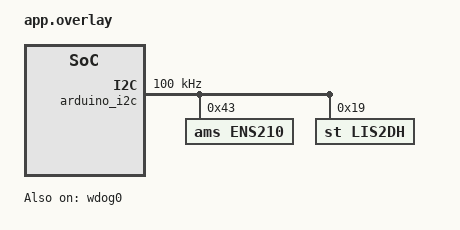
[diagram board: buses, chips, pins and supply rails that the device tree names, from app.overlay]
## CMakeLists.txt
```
# SPDX-License-Identifier: LicenseRef-Atmosic
# Copyright (c) 2025-2026 Atmosic

cmake_minimum_required(VERSION 3.20.0)

set(EXTRA_DTC_OVERLAY_FILE "app.overlay")
find_package(Zephyr REQUIRED HINTS $ENV{ZEPHYR_BASE})
project(sensor_beacon)

# Base application sources
set(app_sources
  src/main.c
  src/sensor_beacon.c
  src/sensor_data.c
  src/sensor_interface.c
  src/battery_monitor.c
  src/beacon_adv.c
  src/led_button_ctrl.c
  src/at_gatt.c
  src/at_cmd_manager.c
  src/beacon_adv_at_cmd.c
)

target_sources(app PRIVATE
  ${app_sources}
)

# Include directories
target_include_directories(app PRIVATE
  src/
)
```

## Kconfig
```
# SPDX-License-Identifier: LicenseRef-Atmosic
# Copyright (c) 2025-2026 Atmosic

source "Kconfig.zephyr"

config SENSOR_BEACON_UPDATE_INTERVAL
	int "Sensor data update interval in centiseconds"
	default 100
	help
	  Interval between sensor data updates and beacon advertisement updates.
	  Value is in centiseconds (1 centisecond = 10ms).
	  Default is 100 centiseconds = 1 second for responsive debugging.

config SENSOR_BEACON_FAST_ADV
	bool "Fast advertising mode"
	default n
	help
	  Enable fast advertising mode for quick device discovery.
	  Fast mode: 100-150ms intervals (higher power, better responsiveness)
	  Normal mode: 1-1.2s intervals (balanced power and responsiveness)

	  Fast mode is recommended for applications requiring immediate discovery,
	  while normal mode provides good balance for most use cases.

config SENSOR_BEACON_ACCEL_SCALING_FACTOR
	int "Accelerometer scaling factor"
	default 16000
	help
	  Scaling factor to convert Zephyr sensor values to match the
	  mobile app expectations. Set to 16000 to compensate for mobile
	  app scaling (÷16÷1000) with ±16g range for optimal sensitivity.

config SENSOR_BEACON_TEMP_SCALING_FACTOR
	int "Temperature scaling factor"
	default 256
	help
	  Scaling factor for temperature values using fixed-point with 256 scale factor.

config SENSOR_BEACON_HUMIDITY_SCALING_FACTOR
	int "Humidity scaling factor"
	default 256
	help
	  Scaling factor for humidity values using fixed-point with 256 scale factor.

config SENSOR_BEACON_BUTTON_POWER_CONTROL
	bool "Button-controlled power management"
	select HWINFO
	help
	  Enable button-controlled device power management functionality.
	  When enabled, this mode provides:
	  - Device starts in OFF state and requires button activation
	  - Device ON/OFF control via 2-second button press
	  - Power state LED indications (Green LED for ON, Red LED for OFF)
	  - Device state management with low power mode support

	  When disabled (default), the device operates in immediate beaconing mode:
	  - Device starts beaconing immediately after power on
	  - No device ON/OFF functionality via button
	  - Only beacon status LED indication is active

config SENSOR_BEACON_AT_CMD_SUPPORT
	bool "Enable AT command support for sensor beacon"
	depends on ATM_AT_CMD
	help
	  Enable AT command interface for sensor beacon configuration.

	  When enabled, the sensor beacon will support:
	  - Device name configuration via AT commands
	  - Advertising interval configuration
	  - Custom advertising data configuration
	  - System reset commands
	  - Device unlock/lock functionality

# Logging configuration for sensor beacon application modules
module = SENSOR_BEACON
module-str = sensor_beacon
source "subsys/logging/Kconfig.template.log_config"
```

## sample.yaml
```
# SPDX-License-Identifier: LicenseRef-Atmosic
# Copyright (c) 2025-2026 Atmosic

sample:
  description: Sensor Beacon Application - Demonstrates sensor data collection and BLE advertising
  name: Sensor Beacon Application
common:
  sysbuild: true
  harness: console
  harness_config:
    type: one_line
    regex:
      - "Sensor beacon initialized successfully"
  tags:
    - sensor_beacon
  depends_on:
    - i2c
    - lis2dh
tests:
  # Main application runtime test (includes AT command support)
  applications.sensor_beacon.atm:
    tags:
      - openair_release
    extra_configs:
      - CONFIG_LOG_DEFAULT_LEVEL=3
      - CONFIG_SENSOR_BEACON_LOG_LEVEL_INF=y
  applications.sensor_beacon.atm.mcuboot.dfu:
    tags:
      - mcuboot
      - openair_release_mcuboot
    extra_args:
      - SB_CONFIG_BOOTLOADER_MCUBOOT=y
      - SB_CONFIG_BOOT_SIGNATURE_TYPE_ECDSA_P256=y
      - SB_CONFIG_MCUBOOT_MODE_SWAP_USING_OFFSET=y
      - EXTRA_CONF_FILE="basic_dfu_serial.conf;"
      - EXTRA_DTC_OVERLAY_FILE="dfu.overlay"
    extra_configs:
      - CONFIG_LOG_DEFAULT_LEVEL=3
      - CONFIG_SENSOR_BEACON_LOG_LEVEL_INF=y
  applications.sensor_beacon.atm.mcuboot.dfu.legacy_scratch:
    tags:
      - mcuboot
      - legacy
    extra_args:
      - SB_CONFIG_BOOTLOADER_MCUBOOT=y
      - SB_CONFIG_BOOT_SIGNATURE_TYPE_ECDSA_P256=y
      - SB_CONFIG_MCUBOOT_MODE_SWAP_SCRATCH=y
      - SB_ATM_DTS_EXTRA_CPPFLAGS="-DATM_MCUBOOT_SWAP_WITH_OFFSET=0"
      - EXTRA_CONF_FILE="basic_dfu_serial.conf;"
      - EXTRA_DTC_OVERLAY_FILE="dfu.overlay"
    extra_configs:
      - CONFIG_LOG_DEFAULT_LEVEL=3
      - CONFIG_SENSOR_BEACON_LOG_LEVEL_INF=y
  applications.sensor_beacon.atm.two_dev:
    tags:
      - two_dev
    extra_configs:
      - CONFIG_LOG_DEFAULT_LEVEL=3
      - CONFIG_SENSOR_BEACON_LOG_LEVEL_INF=y
      - CONFIG_SENSOR_BEACON_FAST_ADV=y
```

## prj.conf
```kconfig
# Copyright (c) 2025-2026 Atmosic
#
# SPDX-License-Identifier: LicenseRef-Atmosic

# BT Configuration
CONFIG_BT=y
CONFIG_BT_PERIPHERAL=y
CONFIG_BT_EXT_ADV=y
CONFIG_BT_MAX_CONN=2
CONFIG_BT_DEVICE_NAME="Atmosic Sensor Beacon"
CONFIG_BT_DEVICE_NAME_DYNAMIC=y
CONFIG_BT_DEVICE_NAME_MAX=22

# Extended advertising configuration for dual advertising sets
CONFIG_BT_EXT_ADV_MAX_ADV_SET=2

# LED and Button support
CONFIG_GPIO=y
CONFIG_INPUT=y

# Battery measurement
CONFIG_ADC=y
CONFIG_ADC_LOG_LEVEL_ERR=y

# Sensor measurement - ALWAYS ENABLED (core functionality)
CONFIG_I2C=y
CONFIG_SENSOR=y
CONFIG_SENSOR_LOG_LEVEL_WRN=y

# Application configuration
CONFIG_SENSOR_BEACON_UPDATE_INTERVAL=100
CONFIG_ATM_SETTINGS=y

# Sensor scaling factors (optimized for ±16g range and mobile app compatibility)
CONFIG_SENSOR_BEACON_TEMP_SCALING_FACTOR=256
CONFIG_SENSOR_BEACON_HUMIDITY_SCALING_FACTOR=256
CONFIG_SENSOR_BEACON_ACCEL_SCALING_FACTOR=1000

# Stack sizes
CONFIG_MAIN_STACK_SIZE=2048
CONFIG_SYSTEM_WORKQUEUE_STACK_SIZE=2048

# Stack sentinel
CONFIG_STACK_SENTINEL=y

# C library
CONFIG_NEWLIB_LIBC=y
CONFIG_NEWLIB_LIBC_NANO=y

# Logging - MINIMAL (warnings and errors only)
CONFIG_LOG=y
# Warning level for production
CONFIG_LOG_DEFAULT_LEVEL=2
# Application module logging
CONFIG_SENSOR_BEACON_LOG_LEVEL_WRN=y

# AT command framework
CONFIG_ATM_AT_CMD=y
CONFIG_AT_CMD_SET=y
CONFIG_AT_CMD_LOCK_SET=y
CONFIG_AT_CMD_SYSUNLOCKKEY_VALUE="atm1atm123"
CONFIG_AT_CMD_BLEGAPDEVNAME=y
CONFIG_AT_CMD_BLEGAPDEVNAME_CB=y
CONFIG_AT_CMD_BLEADVLEGACYPARM=y
CONFIG_AT_CMD_BLEADVLEGACYPARM_CB=y
CONFIG_AT_CMD_BLEADVDATA=y
CONFIG_AT_CMD_BLEADVDATA_CB=y

# Bluetooth buffer configuration for AT commands
CONFIG_BT_BUF_ACL_RX_SIZE=255
CONFIG_BT_BUF_ACL_TX_SIZE=251
CONFIG_BT_L2CAP_TX_MTU=247
CONFIG_BT_BUF_CMD_TX_SIZE=255
CONFIG_BT_BUF_EVT_DISCARDABLE_SIZE=255

# Storage for persistent settings
CONFIG_FLASH=y
CONFIG_FLASH_PAGE_LAYOUT=y
CONFIG_FLASH_MAP=y
CONFIG_NVS=y
CONFIG_SETTINGS=y
CONFIG_BT_SETTINGS=y

# BT features for AT command support
CONFIG_BT_SMP=y
CONFIG_BT_GATT_CLIENT=y

# Disable unused BT features to save memory and power
CONFIG_BT_GATT_SERVICE_CHANGED=n
CONFIG_BT_GATT_CACHING=n
CONFIG_BT_GATT_AUTO_DISCOVER_CCC=n

# Disable debugging features for production
CONFIG_THREAD_RUNTIME_STATS=n
```

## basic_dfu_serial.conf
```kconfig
# Copyright (c) 2026 Atmosic
#
# SPDX-License-Identifier: LicenseRef-Atmosic

# Enable MCUmgr with image and OS management command groups
CONFIG_ATM_MCUMGR=y

# Enable MCUmgr UART transport
CONFIG_UART_MCUMGR=y
CONFIG_MCUMGR_TRANSPORT_UART=y
```

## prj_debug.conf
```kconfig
# Copyright (c) 2025-2026 Atmosic
#
# SPDX-License-Identifier: LicenseRef-Atmosic

# BT Configuration
CONFIG_BT=y
CONFIG_BT_PERIPHERAL=y
CONFIG_BT_EXT_ADV=y
CONFIG_BT_MAX_CONN=2
CONFIG_BT_DEVICE_NAME="Sensor Beacon Debug"
CONFIG_BT_DEVICE_NAME_DYNAMIC=y
CONFIG_BT_DEVICE_NAME_MAX=22

# Extended advertising configuration for dual advertising sets
CONFIG_BT_EXT_ADV_MAX_ADV_SET=2

# LED and Button support
CONFIG_GPIO=y
CONFIG_INPUT=y

# Battery measurement
CONFIG_ADC=y
CONFIG_ADC_LOG_LEVEL_DBG=y

# Sensor measurement - ALWAYS ENABLED (core functionality)
CONFIG_I2C=y
CONFIG_SENSOR=y
CONFIG_SENSOR_LOG_LEVEL_DBG=y

# Application configuration
CONFIG_SENSOR_BEACON_UPDATE_INTERVAL=100
CONFIG_ATM_SETTINGS=y

# Application module logging
CONFIG_SENSOR_BEACON_LOG_LEVEL_DBG=y

# Sensor scaling factors (optimized for ±16g range and mobile app compatibility)
CONFIG_SENSOR_BEACON_TEMP_SCALING_FACTOR=256
CONFIG_SENSOR_BEACON_HUMIDITY_SCALING_FACTOR=256
CONFIG_SENSOR_BEACON_ACCEL_SCALING_FACTOR=1000

# Stack sizes
CONFIG_MAIN_STACK_SIZE=2048
CONFIG_SYSTEM_WORKQUEUE_STACK_SIZE=2048

# Stack sentinel
CONFIG_STACK_SENTINEL=y

# C library
CONFIG_NEWLIB_LIBC=y
CONFIG_NEWLIB_LIBC_NANO=y

# Logging - SELECTIVE DEBUG (application debug, OS info only)
CONFIG_LOG=y
CONFIG_LOG_DEFAULT_LEVEL=3
CONFIG_LOG_BACKEND_UART=y
CONFIG_LOG_FUNC_NAME_PREFIX_DBG=y

# Increase log buffer to reduce dropped messages
CONFIG_LOG_BUFFER_SIZE=4096
CONFIG_LOG_PROCESS_THREAD_STACK_SIZE=2048
CONFIG_LOG_PROCESS_TRIGGER_THRESHOLD=10
CONFIG_LOG_BLOCK_IN_THREAD=y

# Disable specific noisy debug modules
CONFIG_KERNEL_LOG_LEVEL_WRN=y
CONFIG_LOG_OVERRIDE_LEVEL=3

# Bluetooth debug logging - selective (uncomment as needed)
#CONFIG_BT_CONN_LOG_LEVEL_DBG=y
#CONFIG_BT_HCI_CORE_LOG_LEVEL_DBG=y

# AT command framework
CONFIG_ATM_AT_CMD=y
CONFIG_AT_CMD_SET=y
CONFIG_AT_CMD_LOCK_SET=y
CONFIG_AT_CMD_SYSUNLOCKKEY_VALUE="atm1atm123"
CONFIG_AT_CMD_BLEGAPDEVNAME=y
CONFIG_AT_CMD_BLEGAPDEVNAME_CB=y
CONFIG_AT_CMD_BLEADVLEGACYPARM=y
CONFIG_AT_CMD_BLEADVLEGACYPARM_CB=y
CONFIG_AT_CMD_BLEADVDATA=y
CONFIG_AT_CMD_BLEADVDATA_CB=y

# Bluetooth buffer configuration for AT commands
CONFIG_BT_BUF_ACL_RX_SIZE=255
CONFIG_BT_BUF_ACL_TX_SIZE=251
CONFIG_BT_L2CAP_TX_MTU=247
CONFIG_BT_BUF_CMD_TX_SIZE=255
CONFIG_BT_BUF_EVT_DISCARDABLE_SIZE=255

# Storage for persistent settings
CONFIG_FLASH=y
CONFIG_FLASH_PAGE_LAYOUT=y
CONFIG_FLASH_MAP=y
CONFIG_NVS=y
CONFIG_SETTINGS=y
CONFIG_BT_SETTINGS=y

# BT features for AT command support
CONFIG_BT_SMP=y
CONFIG_BT_GATT_CLIENT=y

# Disable unused BT features to save memory and power
CONFIG_BT_GATT_SERVICE_CHANGED=n
CONFIG_BT_GATT_CACHING=n
CONFIG_BT_GATT_AUTO_DISCOVER_CCC=n
```

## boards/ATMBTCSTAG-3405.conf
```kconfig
# SPDX-License-Identifier: LicenseRef-Atmosic
# Copyright (c) 2025-2026 Atmosic

# Board-specific configuration for ATMBTCSTAG-3405 tag design
# This enables button-controlled power management functionality

# Enable button-controlled power management
# - Device starts in OFF state and requires button activation
# - Device ON/OFF control via 2-second button press
# - Power state LED indications (Green LED for ON, Red LED for OFF)
# - Device state management with low power mode support
CONFIG_SENSOR_BEACON_BUTTON_POWER_CONTROL=y
```

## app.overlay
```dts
/*
 * SPDX-License-Identifier: LicenseRef-Atmosic
 * Copyright (c) 2025-2026 Atmosic
 */

/*
 * The arduino_i2c alias automatically resolves to the correct I2C bus
 * for each board variant, eliminating the need for board-specific overlays.
 */

&arduino_i2c {
	status = "okay";
	clock-frequency = <I2C_BITRATE_STANDARD>;

	/* ENS210 temperature and humidity sensor */
	ens210: ens210@43 {
		compatible = "ams,ens210";
		reg = <0x43>;
		status = "okay";
	};

	/* LIS2DH accelerometer */
	lis2dh: lis2dh@19 {
		compatible = "st,lis2dh";
		reg = <0x19>;
		status = "okay";
	};
};

&wdog0 {
	status = "okay";
};

&soc_off {
        status = "okay";
};

&cpu0 {
	cpu-power-states = <&idle &sleep &retain &hibernate &soc_off>;
};
```

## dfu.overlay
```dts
/*
 * SPDX-License-Identifier: LicenseRef-Atmosic
 * Copyright (c) 2026 Atmosic
 */

&uart0 {
	status = "okay";
};
```

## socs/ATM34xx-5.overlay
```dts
/*
 * SPDX-License-Identifier: LicenseRef-Atmosic
 * Copyright (c) 2025-2026 Atmosic
 */

&wdog_unified {
	status = "okay";
};

/* Update alias to point to unified watchdog for PMU watchdog support */
/ {
	aliases {
		watchdog0 = &wdog_unified;
	};
};
```

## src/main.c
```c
/*
 * Copyright (c) 2025-2026 Atmosic
 *
 * SPDX-License-Identifier: LicenseRef-Atmosic
 */

#include <zephyr/kernel.h>
#include <zephyr/drivers/watchdog.h>
#include <zephyr/logging/log.h>
#include <zephyr/pm/pm.h>
#include <zephyr/pm/policy.h>
#include <zephyr/bluetooth/bluetooth.h>
#if defined(CONFIG_BT_MAX_CONN) && (CONFIG_BT_MAX_CONN > 1)
#include <zephyr/bluetooth/conn.h>
#include <zephyr/bluetooth/hci.h>
#include <zephyr/bluetooth/addr.h>
#include <zephyr/bluetooth/gatt.h>
#endif
#include "beacon_adv.h"
#include "sensor_beacon.h"
#include "at_gatt.h"
#include "at_cmd_manager.h"
#include "led_button_ctrl.h"
#include "reset.h"
#ifdef CONFIG_PM
#include "power.h"
#endif

LOG_MODULE_REGISTER(main, CONFIG_SENSOR_BEACON_LOG_LEVEL);

#define SLEEP_TIME        K_SECONDS(3)
#define WDT_MIN_WINDOW_MS 0
#define WDT_MAX_WINDOW_MS 5000

static const struct device *const wdog_dev = DEVICE_DT_GET(DT_ALIAS(watchdog0));
static int wdt_channel_id;

#ifdef CONFIG_PM
static void wdog_poke(enum pm_state state)
{
	wdt_feed(wdog_dev, wdt_channel_id);
}

static struct pm_notifier notifier = {
	.state_entry = wdog_poke,
	.state_exit = wdog_poke,
};
#endif

/**
 * @brief MTU exchange completion callback
 */
static void mtu_exchange_cb(struct bt_conn *conn, uint8_t err,
			    struct bt_gatt_exchange_params *params)
{
	if (err) {
		LOG_WRN("MTU exchange failed (err 0x%02x)", err);
	} else {
		uint16_t mtu = bt_gatt_get_mtu(conn);
		LOG_INF("MTU exchange successful: %u bytes", mtu);
	}
}

static struct bt_gatt_exchange_params mtu_exchange_params = {.func = mtu_exchange_cb};

#if defined(CONFIG_BT_MAX_CONN) && (CONFIG_BT_MAX_CONN > 1)
/**
 * @brief Bluetooth connection callback
 *
 * Automatically locks device on new connections to prevent authentication bypass vulnerability.
 */
static void connected_cb(struct bt_conn *conn, uint8_t err)
{
	if (err) {
		LOG_ERR("BLE connection failed (err 0x%02x)", err);
		return;
	}

	char addr[BT_ADDR_LE_STR_LEN];
	bt_addr_le_to_str(bt_conn_get_dst(conn), addr, sizeof(addr));
	LOG_INF("BLE connected: %s", addr);

	/* Initiate MTU exchange for AT commands */
	int ret = bt_gatt_exchange_mtu(conn, &mtu_exchange_params);
	if (ret) {
		LOG_WRN("MTU exchange request failed (err %d), using default MTU", ret);
	} else {
		LOG_INF("MTU exchange initiated (current: %u bytes)", bt_gatt_get_mtu(conn));
	}

	/* Force device to locked state on new connection */
	at_cmd_connection_event(true);
	LOG_INF("Device automatically locked for new BLE session");
}

/**
 * @brief Bluetooth disconnection callback
 */
static void disconnected_cb(struct bt_conn *conn, uint8_t reason)
{
	char addr[BT_ADDR_LE_STR_LEN];
	bt_addr_le_to_str(bt_conn_get_dst(conn), addr, sizeof(addr));
	LOG_INF("BLE disconnected: %s (reason 0x%02x %s)", addr, reason, bt_hci_err_to_str(reason));

	/* Restart connectable advertising so the device is connectable again. */
	int err = beacon_conn_adv_restart();

	if (err) {
		LOG_ERR("Failed to restart conn adv after disconnect (err %d)", err);
	}
}

/**
 * @brief Bluetooth connection callbacks
 */
BT_CONN_CB_DEFINE(sensor_beacon_conn_cb) = {
	.connected = connected_cb,
	.disconnected = disconnected_cb,
};

#endif /* CONFIG_BT_MAX_CONN > 1 */

int main(void)
{
	LOG_INF("Starting Sensor Beacon Application: %#x", boot_status());

#ifdef CONFIG_SENSOR_BEACON_BUTTON_POWER_CONTROL
	// Check if device should power on (button power control enabled)
	if (!led_button_ctrl_check_power_on()) {
		LOG_INF("Device will go into SOC-OFF state");
#ifdef CONFIG_PM
		// Enable GPIO wakeup source for SOC_OFF
		atm_socoff_wakeup_gpio_set(true);
		// Unlock SOC_OFF state to allow PM subsystem to enter it
		sensor_beacon_unlock_soft_off_state();
#endif
		return 0;
	}

	// Device is powering on - continue with initialization
	LOG_INF("Button power control check passed - proceeding with initialization");
#else
	// No button power control, proceed directly to normal initialization
	LOG_DBG("No button power control");
#endif

	/* Initialize watchdog */
	struct wdt_timeout_cfg wdt_config = {
		.flags = WDT_FLAG_RESET_SOC,
		.window.min = WDT_MIN_WINDOW_MS,
		.window.max = WDT_MAX_WINDOW_MS,
		.callback = NULL,
	};

	wdt_channel_id = wdt_install_timeout(wdog_dev, &wdt_config);
	if (wdt_channel_id < 0) {
		LOG_ERR("Watchdog install error: %d", wdt_channel_id);
		return 1;
	}

	int ret = wdt_setup(wdog_dev, 0);
	if (ret < 0) {
		LOG_ERR("Watchdog setup error: %d", ret);
		return 1;
	}

	/* Initialize Bluetooth subsystem early */
	ret = bt_enable(NULL);
	if (ret) {
		LOG_ERR("Bluetooth init failed: %d", ret);
		return ret;
	}
	LOG_INF("Bluetooth initialized");

	/* Initialize AT command manager */
	ret = at_cmd_manager_init();
	if (ret) {
		LOG_ERR("AT command manager init failed: %" PRId32, ret);
		return ret;
	}
	LOG_INF("AT command support initialized");

	/* Initialize sensor beacon */
	ret = sensor_beacon_init();
	if (ret) {
		LOG_ERR("Sensor beacon init failed: %d", ret);
		return ret;
	}

#ifdef CONFIG_PM
	sensor_beacon_unlock_soft_off_state();
#endif

	/* Set the device to ON state */
	led_button_ctrl_set_device_state(DEVICE_STATE_ON);

#ifdef CONFIG_PM
	pm_notifier_register(&notifier);
#else
	/* Main loop for non-PM builds */
	while (true) {
		k_sleep(SLEEP_TIME);
		wdt_feed(wdog_dev, wdt_channel_id);
	}
#endif

	return 0;
}
```

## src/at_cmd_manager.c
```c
/*
 * Copyright (c) 2025-2026 Atmosic
 *
 * SPDX-License-Identifier: LicenseRef-Atmosic
 */

#include <ctype.h>
#include <errno.h>
#include <string.h>
#include <zephyr/bluetooth/bluetooth.h>
#include <zephyr/bluetooth/gap.h>
#include <zephyr/bluetooth/hci_types.h>
#include <zephyr/logging/log.h>
#include <zephyr/logging/log_ctrl.h>
#include <zephyr/settings/settings.h>
#include <zephyr/sys/reboot.h>

#include "at_cmd.h"
#include "at_cmd_set.h"
#include "at_cmd_manager.h"
#include "at_cmd_set.h"
#include "at_gatt.h"
#include "beacon_adv.h"
#include "beacon_adv_at_cmd.h"

LOG_MODULE_REGISTER(at_cmd_manager, CONFIG_SENSOR_BEACON_LOG_LEVEL);

/* AT Command Buffer Configuration */
/**
 * @brief AT command buffer size
 *
 * This buffer size is designed to accommodate the longest possible AT command
 * including parameters. Based on AT command specification and typical usage:
 * - Command prefix: "AT+" (3 bytes)
 * - Command name: up to 20 bytes
 * - Parameters: up to 200 bytes (e.g., device names, hex data)
 * - Null terminator: 1 byte
 * - Safety margin: ~30 bytes
 * Total: 256 bytes provides adequate buffer space for all supported commands.
 */
#define AT_CMD_BUFFER_SIZE 256

static at_cmd_ch_t at_cmd_ch;
static char cmd_buf[AT_CMD_BUFFER_SIZE];

/* Work queue for processing AT commands asynchronously to avoid blocking GATT callback */
static struct k_work_delayable at_cmd_work;
static K_MUTEX_DEFINE(cmd_buf_mutex);
static char cmd_work_buf[AT_CMD_BUFFER_SIZE];
static uint16_t cmd_work_len;

static void at_gatt_tx_cb(at_cmd_ch_t ch, void const *resp, uint16_t len)
{
	at_gatt_notify(resp, len);
}

static void at_cmd_work_handler(struct k_work *work)
{
	ARG_UNUSED(work);

	k_mutex_lock(&cmd_buf_mutex, K_FOREVER);
	if (cmd_work_len > 0) {
		at_cmd_proc(at_cmd_ch, cmd_work_buf, cmd_work_len);
		cmd_work_len = 0;
	}
	k_mutex_unlock(&cmd_buf_mutex);
}

static void at_gatt_rx_cb(uint8_t const *data, uint16_t size)
{
	static uint16_t cmd_buf_idx;

	BUILD_ASSERT(AT_CMD_PREFIX_LEN < AT_CMD_BUFFER_SIZE,
		     "AT_CMD_PREFIX must fit in AT_CMD_BUFFER_SIZE");

	for (uint16_t i = 0; i < size; i++) {
		if (cmd_buf_idx >= (AT_CMD_BUFFER_SIZE - 1)) {
			LOG_WRN("AT GATT buffer overflow, resetting");
			cmd_buf_idx = 0;
			return;
		}

		if (cmd_buf_idx < AT_CMD_PREFIX_LEN) {
			/* Match prefix byte-by-byte (case-insensitive) */
			if (toupper((unsigned char)data[i]) ==
			    toupper((unsigned char)CONFIG_AT_CMD_PREFIX[cmd_buf_idx])) {
				cmd_buf[cmd_buf_idx] = CONFIG_AT_CMD_PREFIX[cmd_buf_idx];
				cmd_buf_idx++;
			} else {
				cmd_buf_idx = 0;
			}
		} else {
			/* Prefix matched — accumulate command body */
			cmd_buf[cmd_buf_idx++] = data[i];
		}
	}

	/* Process command asynchronously to avoid blocking the GATT callback */
	cmd_buf[cmd_buf_idx] = 0x00;
	k_mutex_lock(&cmd_buf_mutex, K_FOREVER);
	strncpy(cmd_work_buf, cmd_buf, sizeof(cmd_work_buf) - 1);
	cmd_work_buf[sizeof(cmd_work_buf) - 1] = '\0';
	cmd_work_len = strlen(cmd_work_buf);
	k_mutex_unlock(&cmd_buf_mutex);

	cmd_buf_idx = 0;

	/* Schedule work with small delay to ensure GATT write response is sent first */
	k_work_schedule(&at_cmd_work, K_MSEC(10));
}

#ifdef CONFIG_AT_CMD_BLEGAPDEVNAME_CB
static void at_cmd_devname_set_cb(const char *name)
{
	int err = beacon_adv_set_device_name(name);

	if (err) {
		LOG_ERR("Failed to update adv data with new device name: %d", err);
		return;
	}

	LOG_INF("Device name set to: %s", name);
}
#endif

#ifdef CONFIG_AT_CMD_BLEADVLEGACYPARM_CB
static void at_cmd_advlegacyparm_set_cb(uint8_t idx, uint16_t intv_min, uint16_t intv_max,
					uint16_t duration)
{
	int err = beacon_adv_set_interval(intv_min);

	if (err) {
		LOG_ERR("Failed to set advertising interval: %d", err);
		return;
	}

	LOG_INF("Adv interval set: idx=%u min=%u max=%u duration=%u", idx, intv_min, intv_max,
		duration);
}
#endif

#ifdef CONFIG_AT_CMD_BLEADVDATA_CB
static int at_cmd_advdata_set_cb(uint8_t idx, const uint8_t *data, uint16_t len)
{
	LOG_ERR("AT+BLEADVDATA: custom adv data not supported on sensor_beacon (idx=%u, len=%u)",
		idx, len);
	return -ENOTSUP;
}
#endif

int at_cmd_manager_init(void)
{
	/* Load settings early in AT command initialization */
	if (IS_ENABLED(CONFIG_SETTINGS)) {
		int ret = settings_load();
		if (ret) {
			LOG_ERR("Settings load failed: %d", ret);
			return ret;
		}
		LOG_INF("Settings loaded");
	}

	/* Initialize work queue for AT command processing */
	k_work_init_delayable(&at_cmd_work, at_cmd_work_handler);

	at_cmd_alloc_ctx_t const at_ctx = {
		.xfer = AT_CMD_DFT_XFER_UART,
		.resp = at_gatt_tx_cb,
	};
	at_cmd_ch = at_cmd_alloc(&at_ctx);

#ifdef CONFIG_AT_CMD_LOCK_SET
	/* Lock channel on startup — unlocked only via AT+SYSLOCK=OFF */
	at_cmd_lock(at_cmd_ch, true);
#endif

	at_gatt_hdlr_reg(at_gatt_rx_cb);

#ifdef CONFIG_AT_CMD_SET_CALLBACKS
	at_cmd_set_callbacks_t subsys_callbacks = {
#ifdef CONFIG_AT_CMD_BLEGAPDEVNAME_CB
		.devname_set_cb = at_cmd_devname_set_cb,
#endif
#ifdef CONFIG_AT_CMD_BLEADVLEGACYPARM_CB
		.advlegacyparm_set_cb = at_cmd_advlegacyparm_set_cb,
#endif
#ifdef CONFIG_AT_CMD_BLEADVDATA_CB
		.advdata_set_cb = at_cmd_advdata_set_cb,
#endif
	};
	at_cmd_set_callbacks_register(&subsys_callbacks);
#endif /* CONFIG_AT_CMD_SET_CALLBACKS */

	LOG_INF("AT command manager initialized");
	return 0;
}

#ifdef CONFIG_AT_CMD_LOCK_SET
void at_cmd_connection_event(bool connected)
{
	if (connected) {
		/* Re-lock channel on every new connection */
		at_cmd_lock(at_cmd_ch, true);
		LOG_INF("AT commands locked on connection");
	}
}
#endif
```

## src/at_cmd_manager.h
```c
/*
 * Copyright (c) 2025-2026 Atmosic
 *
 * SPDX-License-Identifier: LicenseRef-Atmosic
 */

#pragma once

#include <zephyr/kernel.h>
#include <stdint.h>
#include "at_cmd.h"

#ifdef __cplusplus
extern "C" {
#endif

/**
 * @brief Initialize AT command manager
 *
 * @return 0 on success, negative error code on failure
 */
int at_cmd_manager_init(void);

#ifdef CONFIG_AT_CMD_LOCK_SET
/**
 * @brief Handle connection events for lock state management
 *
 * @param connected true if connected, false if disconnected
 */
void at_cmd_connection_event(bool connected);
#endif

#ifdef __cplusplus
}
#endif
```

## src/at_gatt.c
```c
/*
 * SPDX-License-Identifier: LicenseRef-Atmosic
 * Copyright (c) 2021-2026 Atmosic
 */

#include <zephyr/bluetooth/gatt.h>
#include <zephyr/logging/log.h>
#include <string.h>

#include "at_gatt.h"
#include <inttypes.h>

LOG_MODULE_REGISTER(at_gatt, CONFIG_SENSOR_BEACON_LOG_LEVEL);

#define BT_UUID_DECLARE_REVERSE_128(a0, a1, a2, a3, a4, a5, a6, a7, a8, a9, a10, a11, a12, a13,    \
				    a14, a15)                                                      \
	BT_UUID_DECLARE_128(a15, a14, a13, a12, a11, a10, a9, a8, a7, a6, a5, a4, a3, a2, a1, a0)

/* Sensor beacon GATT service UUIDs */
#define BT_UUID_SENSOR_BEACON                                                                      \
	BT_UUID_DECLARE_REVERSE_128('A', 't', 'm', 'o', 's', 'i', 'c', 'S', 'B', '-', 'b', 'e',    \
				    'a', 'c', 'o', 'n')

#define BT_UUID_SENSOR_BEACON_TXRX                                                                 \
	BT_UUID_DECLARE_128('A', 't', 'm', 'o', 's', 'i', 'c', 0x00, 0x00, 0x00, 0x00, 0x00, 0x00, \
			    0x00, 0x00, 0x01)

#define AT_CMD_INFO_SIZE 256 /* Match AT_CMD_BUFFER_SIZE to support long commands */
static uint8_t at_cmd_info[AT_CMD_INFO_SIZE];
static at_gatt_rx_hdlr_t at_gatt_rx_handler;

static ssize_t write_at_cmd_info(struct bt_conn *conn, const struct bt_gatt_attr *attr,
				 const void *buf, uint16_t len, uint16_t offset, uint8_t flags)
{
	LOG_HEXDUMP_DBG(buf, len, "AT GATT write");
	uint8_t *value = attr->user_data;

	if (offset + len > AT_CMD_INFO_SIZE) {
		return BT_GATT_ERR(BT_ATT_ERR_INVALID_OFFSET);
	}

	memcpy(value + offset, buf, len);

	if (at_gatt_rx_handler) {
		at_gatt_rx_handler(buf, len);
	}

	return len;
}

static void at_cmd_ccc_changed(const struct bt_gatt_attr *attr, uint16_t value)
{
	ARG_UNUSED(attr);

	bool notif_enabled = (value == BT_GATT_CCC_NOTIFY);

	LOG_INF("AT command notifications %s", notif_enabled ? "enabled" : "disabled");
}

void at_gatt_hdlr_reg(at_gatt_rx_hdlr_t rx_cb)
{
	at_gatt_rx_handler = rx_cb;
}

BT_GATT_SERVICE_DEFINE(sensor_beacon_svc, BT_GATT_PRIMARY_SERVICE(BT_UUID_SENSOR_BEACON),
		       BT_GATT_CHARACTERISTIC(BT_UUID_SENSOR_BEACON_TXRX,
					      BT_GATT_CHRC_WRITE | BT_GATT_CHRC_NOTIFY,
					      BT_GATT_PERM_WRITE, NULL, write_at_cmd_info,
					      at_cmd_info),
		       BT_GATT_CCC(at_cmd_ccc_changed, BT_GATT_PERM_READ | BT_GATT_PERM_WRITE), );

void at_gatt_notify(uint8_t const *data, uint16_t len)
{
	if (len > AT_CMD_INFO_SIZE) {
		LOG_WRN("AT response too long (%" PRId32 " bytes), truncating to %d", len,
			(int)AT_CMD_INFO_SIZE);
		len = AT_CMD_INFO_SIZE;
	}

	memcpy(at_cmd_info, data, len);
	bt_gatt_notify(NULL, &sensor_beacon_svc.attrs[1], at_cmd_info, len);
}
```

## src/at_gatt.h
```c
/*
 * SPDX-License-Identifier: LicenseRef-Atmosic
 * Copyright (c) 2021-2026 Atmosic
 */

#pragma once

#include <zephyr/kernel.h>
#include <stdint.h>

#ifdef __cplusplus
extern "C" {
#endif

/**
 * @brief AT command GATT RX handler callback type
 *
 * @param data Received data buffer
 * @param len Length of received data
 */
typedef void (*at_gatt_rx_hdlr_t)(uint8_t const *data, uint16_t len);

/**
 * @brief Register AT command GATT RX handler
 *
 * @param rx_cb RX callback function
 */
void at_gatt_hdlr_reg(at_gatt_rx_hdlr_t rx_cb);

/**
 * @brief Send AT command response via GATT notification
 *
 * @param data Response data buffer
 * @param len Length of response data
 */
void at_gatt_notify(uint8_t const *data, uint16_t len);

#ifdef __cplusplus
}
#endif
```

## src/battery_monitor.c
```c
/*
 * SPDX-License-Identifier: LicenseRef-Atmosic
 * Copyright (c) 2025-2026 Atmosic
 */

#include <zephyr/drivers/adc.h>
#include <zephyr/logging/log.h>
#include <zephyr/sys/__assert.h>
#include <inttypes.h>

#include "battery_monitor.h"
#include "atm_adc.h"

LOG_MODULE_REGISTER(battery_monitor, CONFIG_SENSOR_BEACON_LOG_LEVEL);

#define ADC_BUFFER_SIZE 2
#define ADC_RESOLUTION  DT_PROP(DT_NODELABEL(adc), resolution)

#define ADC_CHANNEL_VBATT                                                                          \
	ADC_CHANNEL_DT_NODE(DT_NODELABEL(adc), DT_PROP(DT_NODELABEL(adc), ch_cell))
#define ADC_CHANNEL_VBATT_ID DT_REG_ADDR(ADC_CHANNEL_VBATT)
#define ADC_CHANNEL_VSTORE                                                                         \
	ADC_CHANNEL_DT_NODE(DT_NODELABEL(adc), DT_PROP(DT_NODELABEL(adc), ch_store))
#define ADC_CHANNEL_VSTORE_ID DT_REG_ADDR(ADC_CHANNEL_VSTORE)

static const struct device *const adc_dev = DEVICE_DT_GET(DT_NODELABEL(adc));

enum {
	ADC_CHANNEL_VBATT_INDEX,
	ADC_CHANNEL_VSTORE_INDEX,
};

static const struct adc_channel_cfg channel_cfg[] = {
	ADC_CHANNEL_CFG_DT(ADC_CHANNEL_VBATT),
	ADC_CHANNEL_CFG_DT(ADC_CHANNEL_VSTORE),
};

int battery_monitor_init(void)
{
	__ASSERT(adc_dev, "Cannot get ADC device");

	if (!device_is_ready(adc_dev)) {
		LOG_ERR("ADC device is not ready");
		return -ENODEV;
	}

	int ret = adc_channel_setup(adc_dev, &channel_cfg[ADC_CHANNEL_VBATT_INDEX]);
	if (ret) {
		LOG_ERR("Setting up VBatt ADC channel failed: %" PRId32, ret);
		return ret;
	}

	ret = adc_channel_setup(adc_dev, &channel_cfg[ADC_CHANNEL_VSTORE_INDEX]);
	if (ret) {
		LOG_ERR("Setting up VStore ADC channel failed: %" PRId32, ret);
		return ret;
	}

	LOG_INF("Battery monitor initialized");
	return 0;
}

int battery_monitor_get_voltages(float *vstore, float *vbatt)
{
	int32_t sample_buffer[ADC_BUFFER_SIZE];

	const struct adc_sequence sequence = {
		.channels = BIT(ADC_CHANNEL_VBATT_ID) | BIT(ADC_CHANNEL_VSTORE_ID),
		.buffer = sample_buffer,
		.buffer_size = sizeof(sample_buffer),
		.resolution = ADC_RESOLUTION,
	};

	/* Setup async read */
	struct k_poll_signal async_sig = K_POLL_SIGNAL_INITIALIZER(async_sig);
	struct k_poll_event async_evt =
		K_POLL_EVENT_INITIALIZER(K_POLL_TYPE_SIGNAL, K_POLL_MODE_NOTIFY_ONLY, &async_sig);

	int ret = adc_read_async(adc_dev, &sequence, &async_sig);
	if (ret) {
		LOG_ERR("ADC read async failed: %" PRId32, ret);
		return ret;
	}

	/* Wait for completion */
	ret = k_poll(&async_evt, 1, K_FOREVER);
	if (ret) {
		LOG_ERR("ADC poll failed: %" PRId32, ret);
		return ret;
	}

	/* Convert VBatt */
	uint16_t ref = adc_ref_internal(adc_dev);
	int32_t mv = sample_buffer[ADC_CHANNEL_VBATT_INDEX];
	atm_adc_raw_to_millivolts(ref, channel_cfg[ADC_CHANNEL_VBATT_INDEX].gain, ADC_RESOLUTION,
		&mv);
	*vbatt = mv / 1000.0f;
	/* Clamp to 0V if negative (due to ADC offset/noise near 0V) */
	if (*vbatt < 0.0f) {
		*vbatt = 0.0f;
	}

	/* Convert VStore */
	mv = sample_buffer[ADC_CHANNEL_VSTORE_INDEX];
	atm_adc_raw_to_millivolts(ref, channel_cfg[ADC_CHANNEL_VSTORE_INDEX].gain, ADC_RESOLUTION,
		&mv);
	*vstore = mv / 1000.0f;
	/* Clamp to 0V if negative (due to ADC offset/noise near 0V) */
	if (*vstore < 0.0f) {
		*vstore = 0.0f;
	}

	LOG_DBG("VStore: %.4f V, VBatt: %.4f V", (double)*vstore, (double)*vbatt);

	return 0;
}
```

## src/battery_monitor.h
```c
/*
 * SPDX-License-Identifier: LicenseRef-Atmosic
 * Copyright (c) 2021-2026 Atmosic
 */

#pragma once

#include <zephyr/kernel.h>

#ifdef __cplusplus
extern "C" {
#endif

/**
 * @brief Initialize the battery monitoring interface
 *
 * This initializes the ADC channels for VStore and VBatt monitoring.
 *
 * @return 0 on success, negative error code on failure
 */
int battery_monitor_init(void);

/**
 * @brief Get battery and storage voltages
 *
 * Reads the VStore and VBatt voltages using ADC.
 *
 * @param vstore Pointer to store VStore voltage in volts
 * @param vbatt Pointer to store VBatt voltage in volts
 * @return 0 on success, negative error code on failure
 */
int battery_monitor_get_voltages(float *vstore, float *vbatt);

#ifdef __cplusplus
}
#endif
```

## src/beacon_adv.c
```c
/*
 * Copyright (c) 2021-2026 Atmosic
 *
 * SPDX-License-Identifier: LicenseRef-Atmosic
 */

#include <zephyr/bluetooth/bluetooth.h>
#include <zephyr/bluetooth/hci.h>
#include <zephyr/logging/log.h>
#include <zephyr/sys/__assert.h>
#include <string.h>

#include "beacon_adv.h"
#include "sensor_beacon.h"
#include <inttypes.h>

LOG_MODULE_REGISTER(beacon_adv, CONFIG_SENSOR_BEACON_LOG_LEVEL);

#define ATMOSIC_COMPANY_ID  0x0A24
#define BT_ADV_DATA_LEN_MAX 96

/* Advertisement data structure for sensor beacon */
#define ADV_SENSOR_HEADER_SIZE 3
#define ADV_SENSOR_DATA_SIZE   sizeof(sensor_beacon_data_t)

#define ADV_INTERVAL_MIN 400   /* 250 ms in 0.625 ms units */
#define ADV_INTERVAL_MAX 16384 /* 10.24 s in 0.625 ms units */

static bool adv_interval_valid(uint32_t interval)
{
	return interval >= ADV_INTERVAL_MIN && interval <= ADV_INTERVAL_MAX;
}

static struct bt_le_ext_adv *adv_set;
static struct bt_le_adv_param adv_params;
static bool adv_running;
static uint32_t adv_interval; /* 0 = use compile-time default */

#if defined(CONFIG_BT_EXT_ADV_MAX_ADV_SET) && (CONFIG_BT_EXT_ADV_MAX_ADV_SET > 1)
static struct bt_le_ext_adv *conn_adv_set;
static struct bt_le_adv_param conn_adv_params;
#endif

static uint8_t dev_name[CONFIG_BT_DEVICE_NAME_MAX + 1];
static uint8_t dev_name_len;

static uint8_t sensor_data[ADV_SENSOR_DATA_SIZE + ADV_SENSOR_HEADER_SIZE] = {
	ATMOSIC_COMPANY_ID & 0xFF, (ATMOSIC_COMPANY_ID >> 8) & 0xFF, 0x00 /* Type field */
};

#define ADV_DATA_FIXED                                                                             \
	BT_DATA_BYTES(BT_DATA_FLAGS, (BT_LE_AD_GENERAL | BT_LE_AD_NO_BREDR)),                      \
		BT_DATA(BT_DATA_NAME_COMPLETE, dev_name, dev_name_len),                            \
		BT_DATA_BYTES(BT_DATA_UUID16_ALL, 0xaa, 0xfe),                                     \
		BT_DATA_BYTES(BT_DATA_SVC_DATA16, 0xaa, 0xfe, /* Eddystone UUID */                 \
			      0x10,                           /* Eddystone-URL frame type */       \
			      0x00,                           /* Calibrated Tx power at 0m */      \
			      0x01,                           /* URL Scheme Prefix https://www. */ \
			      'a', 't', 'm', 'o', 's', 'i', 'c', 0x07), /* .com */                 \
		BT_DATA(BT_DATA_MANUFACTURER_DATA, sensor_data, sizeof(sensor_data))

int beacon_set_adv_data(void)
{
	/* Standard advertising: fixed elements only */
	const struct bt_data adata[] = {ADV_DATA_FIXED};
	int err = bt_le_ext_adv_set_data(adv_set, adata, ARRAY_SIZE(adata), NULL, 0);
	LOG_DBG("Set standard advertising data (sensor only)");

	if (err) {
		LOG_ERR("Failed to set advertising data (err %" PRId32 ")", err);
	}

	return err;
}

int beacon_adv_init(void)
{
	/* Bluetooth should already be initialized from main() */
	if (!bt_is_ready()) {
		LOG_ERR("Bluetooth not ready");
		return -EAGAIN;
	}

	/* Check if already initialized */
	if (adv_set) {
		LOG_DBG("Advertising already initialized");
		return -EALREADY;
	}

	if (!dev_name_len) {
		/* Initialise runtime device name from compile-time default */
		dev_name_len = sizeof(CONFIG_BT_DEVICE_NAME) - 1;
		memcpy(dev_name, CONFIG_BT_DEVICE_NAME, dev_name_len);
		dev_name[dev_name_len] = '\0';
	}

	LOG_INF("Bluetooth is ready, initializing advertising");

	adv_params.id = BT_ID_DEFAULT;
	adv_params.sid = 0U;
	adv_params.secondary_max_skip = 0U;
	adv_params.options = BT_LE_ADV_OPT_EXT_ADV;

	if (adv_interval) {
		adv_params.interval_min = adv_interval;
		adv_params.interval_max = adv_interval;
	} else {
#ifdef CONFIG_SENSOR_BEACON_FAST_ADV
		adv_params.interval_min = BT_GAP_ADV_FAST_INT_MIN_2; /* 100 ms */
		adv_params.interval_max = BT_GAP_ADV_FAST_INT_MAX_2; /* 150 ms */
		LOG_INF("Advertising mode: Fast (100-150 ms)");
#else
		adv_params.interval_min = BT_GAP_ADV_SLOW_INT_MIN; /* 1 s */
		adv_params.interval_max = BT_GAP_ADV_SLOW_INT_MAX; /* 1.2 s */
		LOG_INF("Advertising mode: Normal (1-1.2 s)");
#endif
	}
	adv_params.peer = NULL;

	/* Create advertising set */
	int err = bt_le_ext_adv_create(&adv_params, NULL, &adv_set);
	if (err) {
		LOG_ERR("Failed to create advertising set (err %" PRId32 ")", err);
		return err;
	}

	/* Set initial advertising data */
	err = beacon_set_adv_data();
	if (err) {
		return err;
	}

#if defined(CONFIG_BT_EXT_ADV_MAX_ADV_SET) && (CONFIG_BT_EXT_ADV_MAX_ADV_SET > 1)
	conn_adv_params.id = BT_ID_DEFAULT;
	conn_adv_params.sid = 1U; /* Different SID */
	conn_adv_params.secondary_max_skip = 0U;
	conn_adv_params.options = BT_LE_ADV_OPT_EXT_ADV | BT_LE_ADV_OPT_CONN;
	conn_adv_params.interval_min = adv_interval ? adv_interval : BT_GAP_ADV_SLOW_INT_MIN;
	conn_adv_params.interval_max = adv_interval ? adv_interval : BT_GAP_ADV_SLOW_INT_MAX;
	conn_adv_params.peer = NULL;

	err = bt_le_ext_adv_create(&conn_adv_params, NULL, &conn_adv_set);
	if (err) {
		LOG_WRN("Failed to create conn adv set (err %" PRId32 ")", err);
		conn_adv_set = NULL;
	} else {
		const struct bt_data conn_ad[] = {
			BT_DATA_BYTES(BT_DATA_FLAGS, (BT_LE_AD_GENERAL | BT_LE_AD_NO_BREDR)),
			BT_DATA(BT_DATA_NAME_COMPLETE, dev_name, dev_name_len),
		};
		err = bt_le_ext_adv_set_data(conn_adv_set, conn_ad, ARRAY_SIZE(conn_ad), NULL, 0);
		if (err) {
			LOG_WRN("Failed to set conn adv data (err %" PRId32 ")", err);
		}
	}
#endif /* CONFIG_BT_EXT_ADV_MAX_ADV_SET > 1 */

	return 0;
}

int beacon_adv_start(void)
{
	if (!adv_set) {
		LOG_ERR("Advertising set not created");
		return -EINVAL;
	}

	int err = bt_le_ext_adv_start(adv_set, BT_LE_EXT_ADV_START_DEFAULT);
	if (err) {
		LOG_ERR("Failed to start beacon adv (err %" PRId32 ")", err);
		return err;
	}

	adv_running = true;
	LOG_INF("Beacon adv started: interval=%u (%.1f ms)", adv_params.interval_min,
		adv_params.interval_min * 0.625);

#if defined(CONFIG_BT_EXT_ADV_MAX_ADV_SET) && (CONFIG_BT_EXT_ADV_MAX_ADV_SET > 1)
	if (conn_adv_set) {
		err = bt_le_ext_adv_start(conn_adv_set, BT_LE_EXT_ADV_START_DEFAULT);
		if (err) {
			LOG_WRN("Failed to start conn adv (err %" PRId32 ")", err);
		}
	}
#endif

	return 0;
}

int beacon_conn_adv_restart(void)
{
#if defined(CONFIG_BT_EXT_ADV_MAX_ADV_SET) && (CONFIG_BT_EXT_ADV_MAX_ADV_SET > 1)
	if (!conn_adv_set) {
		LOG_DBG("No connectable adv set");
		return 0;
	}

	/* conn_adv_set stops automatically when a connection is established.
	 * Restart it after disconnection so the device is connectable again.
	 */
	int err = bt_le_ext_adv_start(conn_adv_set, BT_LE_EXT_ADV_START_DEFAULT);

	if (err && err != -EALREADY) {
		LOG_ERR("Failed to restart conn adv (err %" PRId32 ")", err);
		return err;
	}

	LOG_INF("Connectable adv restarted");
	return 0;
#else
	return 0;
#endif
}

int beacon_adv_stop(void)
{
	if (!adv_set) {
		LOG_ERR("Advertising set not created");
		return -EINVAL;
	}

	int err = bt_le_ext_adv_stop(adv_set);
	if (err) {
		LOG_ERR("Failed to stop advertising (err %" PRId32 ")", err);
		return err;
	}

	adv_running = false;
	LOG_INF("Beacon advertising stopped");
	return 0;
}

int beacon_adv_update_data(const sensor_beacon_data_t *data)
{
	if (!adv_set) {
		LOG_ERR("Advertising set not created");
		return -EINVAL;
	}

	if (!data) {
		LOG_ERR("Invalid sensor data pointer");
		return -EINVAL;
	}

	memcpy(&sensor_data[ADV_SENSOR_HEADER_SIZE], data, sizeof(*data));

	int err = beacon_set_adv_data();
	if (err) {
		LOG_ERR("Failed to update advertisement data (err %" PRId32 ")", err);
		return err;
	}

	LOG_DBG("Advertisement data updated using live update method");

	/* Notify sensor beacon about beacon transmission for LED indication */
	sensor_beacon_notify_beacon_tx();

	return 0;
}

int beacon_adv_update_interval(uint32_t interval)
{
	if (!adv_set) {
		LOG_ERR("Advertising set not created");
		return -EINVAL;
	}

	if (!adv_interval_valid(interval)) {
		LOG_ERR("Invalid adv interval: %" PRIu32, interval);
		return -EINVAL;
	}

	/* Tear down all advertising sets */
	if (adv_running) {
		bt_le_ext_adv_stop(adv_set);
		adv_running = false;
	}
	bt_le_ext_adv_delete(adv_set);
	adv_set = NULL;

	/* Reinit with the new interval — beacon_adv_init reads adv_interval */
	adv_interval = interval;

	int err = beacon_adv_init();

	if (err) {
		LOG_ERR("Failed to reinit adv (err %" PRId32 ")", err);
		return err;
	}

	err = beacon_adv_start();
	if (err) {
		return err;
	}

	LOG_INF("Adv interval updated: %" PRIu32 " (%.1f ms)", interval, interval * 0.625);
	return 0;
}

int beacon_adv_update_device_name(const char *name)
{
	if (!name) {
		LOG_ERR("Invalid device name pointer");
		return -EINVAL;
	}

	size_t name_len = strlen(name);
	if (name_len == 0 || name_len > CONFIG_BT_DEVICE_NAME_MAX) {
		LOG_ERR("Invalid device name length: %zu", name_len);
		return -EINVAL;
	}

	/* Update the local device name buffer and length used in advertising data */
	memset(dev_name, 0, sizeof(dev_name));
	memcpy(dev_name, name, name_len);
	dev_name_len = (uint8_t)name_len;

	LOG_INF("Device name updated in advertising data: %s", dev_name);

	/* Stop main beacon advertising if running */
	bool main_adv_was_running = false;
	if (adv_set) {
		int err = bt_le_ext_adv_stop(adv_set);
		if (err == 0) {
			main_adv_was_running = true;
			LOG_DBG("Main advertising stopped for name update");
		} else if (err != -EALREADY) {
			LOG_WRN("Failed to stop main advertising (err %" PRId32 ")", err);
		}
	}

	/* Stop connection advertising if running */
#if defined(CONFIG_BT_EXT_ADV_MAX_ADV_SET) && (CONFIG_BT_EXT_ADV_MAX_ADV_SET > 1)
	bool conn_adv_was_running = false;
	if (conn_adv_set) {
		int err = bt_le_ext_adv_stop(conn_adv_set);
		if (err == 0) {
			conn_adv_was_running = true;
			LOG_DBG("Connection advertising stopped for name update");
		} else if (err != -EALREADY) {
			LOG_WRN("Failed to stop connection advertising (err %" PRId32 ")", err);
		}
	}
#endif

	/* Update advertising data for main beacon set */
	if (adv_set) {
		int err = beacon_set_adv_data();
		if (err) {
			LOG_ERR("Failed to update main advertising data (err %" PRId32 ")", err);
			return err;
		}
		LOG_DBG("Main advertising data updated with new device name");
	}

	/* Update advertising data for connection set */
#if defined(CONFIG_BT_EXT_ADV_MAX_ADV_SET) && (CONFIG_BT_EXT_ADV_MAX_ADV_SET > 1)
	if (conn_adv_set) {
		const struct bt_data conn_ad_local[] = {
			BT_DATA_BYTES(BT_DATA_FLAGS, (BT_LE_AD_GENERAL | BT_LE_AD_NO_BREDR)),
			BT_DATA(BT_DATA_NAME_COMPLETE, dev_name, dev_name_len),
		};
		int err = bt_le_ext_adv_set_data(conn_adv_set, conn_ad_local,
						 ARRAY_SIZE(conn_ad_local), NULL, 0);
		if (err) {
			LOG_ERR("Failed to update connection advertising data (err %" PRId32 ")",
				err);
			return err;
		}
		LOG_DBG("Connection advertising data updated with new device name");
	}
#endif

	/* Restart main beacon advertising if it was running */
	if (main_adv_was_running && adv_set) {
		int err = bt_le_ext_adv_start(adv_set, BT_LE_EXT_ADV_START_DEFAULT);
		if (err) {
			LOG_ERR("Failed to restart main advertising (err %" PRId32 ")", err);
			return err;
		}
		LOG_INF("Main beacon advertising restarted with new device name");
	}

	/* Restart connection advertising if it was running */
#if defined(CONFIG_BT_EXT_ADV_MAX_ADV_SET) && (CONFIG_BT_EXT_ADV_MAX_ADV_SET > 1)
	if (conn_adv_was_running && conn_adv_set) {
		int err = bt_le_ext_adv_start(conn_adv_set, BT_LE_EXT_ADV_START_DEFAULT);
		if (err) {
			LOG_ERR("Failed to restart connection advertising (err %" PRId32 ")", err);
			return err;
		}
		LOG_INF("Connection advertising restarted with new device name");
	}
#endif

	return 0;
}

int beacon_adv_set_interval_value(uint32_t interval)
{
	if (!adv_interval_valid(interval)) {
		LOG_ERR("Invalid adv interval: %" PRIu32, interval);
		return -EINVAL;
	}
	adv_interval = interval;
	return 0;
}

int beacon_adv_set_device_name_buffer(const char *name)
{
	if (!name) {
		LOG_ERR("Invalid device name pointer");
		return -EINVAL;
	}

	size_t name_len = strlen(name);
	if (name_len == 0 || name_len > CONFIG_BT_DEVICE_NAME_MAX) {
		LOG_ERR("Invalid device name length: %zu", name_len);
		return -EINVAL;
	}

	memset(dev_name, 0, sizeof(dev_name));
	memcpy(dev_name, name, name_len);
	dev_name_len = (uint8_t)name_len;

	LOG_DBG("Device name buffer updated: %s", dev_name);
	return 0;
}
```

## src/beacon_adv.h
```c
/*
 * Copyright (c) 2025-2026 Atmosic
 *
 * SPDX-License-Identifier: LicenseRef-Atmosic
 */

#pragma once

#include <zephyr/kernel.h>
#include "sensor_beacon.h"

#ifdef __cplusplus
extern "C" {
#endif

/**
 * @brief Initialize the beacon advertising
 *
 * This initializes the Bluetooth subsystem and creates the advertising set
 * with the standard beacon format for client compatibility.
 *
 * @return 0 on success, negative error code on failure
 */
int beacon_adv_init(void);

/**
 * @brief Start beacon advertising
 *
 * @return 0 on success, negative error code on failure
 */
int beacon_adv_start(void);

/**
 * @brief Stop beacon advertising
 *
 * @return 0 on success, negative error code on failure
 */
int beacon_adv_stop(void);

/**
 * @brief Restart the connectable advertising set after disconnection
 *
 * The connectable advertising set (conn_adv_set) stops automatically when a
 * BLE connection is established.  Call this from the disconnection callback to
 * make the device connectable again without touching the non-connectable
 * beacon advertising set (adv_set), which continues running uninterrupted.
 *
 * @return 0 on success, negative error code on failure
 */
int beacon_conn_adv_restart(void);

/**
 * @brief Update beacon advertisement data
 *
 * @param data Pointer to sensor data to include in advertisement
 * @return 0 on success, negative error code on failure
 */
int beacon_adv_update_data(const sensor_beacon_data_t *data);

/**
 * @brief Set advertising data
 *
 * Sets the standard advertising data with fixed elements (sensor data only).
 * This function updates the advertising data for the current advertising set.
 *
 * @return 0 on success, negative error code on failure
 */
int beacon_set_adv_data(void);

/**
 * @brief Update advertising interval
 *
 * Updates the advertising interval in-place using bt_le_ext_adv_update_param.
 * The advertising set continues running without being stopped or recreated.
 *
 * @param interval Advertising interval in units of 0.625ms (400-16384)
 * @return 0 on success, negative error code on failure
 */
int beacon_adv_update_interval(uint32_t interval);

/**
 * @brief Update device name in advertising data
 *
 * Updates the device name in both main beacon and connection advertising sets.
 * Handles stopping/restarting advertising as needed.
 *
 * @param name New device name (null-terminated string)
 * @return 0 on success, negative error code on failure
 */
int beacon_adv_update_device_name(const char *name);

/**
 * @brief Set advertising interval buffer without updating advertising
 *
 * Stores the interval for use by beacon_adv_init(). Intended for settings
 * loading before Bluetooth is ready.
 *
 * @param interval Advertising interval in units of 0.625ms (400-16384)
 * @return 0 on success, negative error code on failure
 */
int beacon_adv_set_interval_value(uint32_t interval);

/**
 * @brief Set device name buffer without updating advertising
 *
 * Updates only the internal device name buffer without affecting active
 * advertising. This is intended for use during initialization (e.g., settings
 * loading) when advertising is not yet active.
 *
 * @param name New device name (null-terminated string)
 * @return 0 on success, negative error code on failure
 */
int beacon_adv_set_device_name_buffer(const char *name);

#ifdef __cplusplus
}
#endif
```

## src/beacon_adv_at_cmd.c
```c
/*
 * Copyright (c) 2025-2026 Atmosic
 *
 * SPDX-License-Identifier: LicenseRef-Atmosic
 */

#include <zephyr/logging/log.h>
#include <zephyr/settings/settings.h>
#include <string.h>

#include "beacon_adv.h"
#include <inttypes.h>

LOG_MODULE_REGISTER(beacon_adv_at_cmd, CONFIG_SENSOR_BEACON_LOG_LEVEL);

/* Settings keys for persistent storage */
#define SETTINGS_KEY_DEV_NAME     "sensor_beacon/dev_name"
#define SETTINGS_KEY_ADV_INTERVAL "sensor_beacon/adv_interval"

int beacon_adv_set_interval(uint32_t interval)
{
	int err = settings_save_one(SETTINGS_KEY_ADV_INTERVAL, &interval, sizeof(interval));

	if (err) {
		LOG_WRN("Failed to save adv interval (err %" PRId32 ")", err);
	}

	return beacon_adv_update_interval(interval);
}

int beacon_adv_set_device_name(const char *name)
{
	if (!name) {
		return -EINVAL;
	}

	size_t name_len = strlen(name);

	if (name_len == 0 || name_len > CONFIG_BT_DEVICE_NAME_MAX) {
		return -EINVAL;
	}

	int err = settings_save_one(SETTINGS_KEY_DEV_NAME, name, name_len + 1);

	if (err) {
		LOG_WRN("Failed to save device name (err %" PRId32 ")", err);
	}

	return beacon_adv_update_device_name(name);
}

static int beacon_adv_settings_set(const char *name, size_t len, settings_read_cb read_cb,
				   void *cb_arg)
{
	if (!name) {
		LOG_ERR("Settings: Invalid name parameter");
		return -ENOENT;
	}

	const char *next;
	ssize_t name_len = settings_name_next(name, &next);

	if (!strncmp(name, "adv_interval", name_len)) {
		uint32_t interval = 0;
		ssize_t read_len = read_cb(cb_arg, &interval, sizeof(interval));

		if (read_len == sizeof(interval)) {
			return beacon_adv_set_interval_value(interval);
		}
		return 0;
	}

	if (!strncmp(name, "dev_name", name_len)) {
		char buf[CONFIG_BT_DEVICE_NAME_MAX + 1] = {0};
		ssize_t read_len = read_cb(cb_arg, buf, CONFIG_BT_DEVICE_NAME_MAX);

		if (read_len > 0) {
			if (read_len >= CONFIG_BT_DEVICE_NAME_MAX) {
				read_len = CONFIG_BT_DEVICE_NAME_MAX - 1;
			}
			buf[read_len] = '\0';
			return beacon_adv_set_device_name_buffer(buf);
		}
		return beacon_adv_set_device_name_buffer(CONFIG_BT_DEVICE_NAME);
	}

	return -ENOENT;
}

static int beacon_adv_settings_commit(void)
{
	LOG_DBG("Settings: Beacon advertising settings committed");
	return 0;
}

SETTINGS_STATIC_HANDLER_DEFINE(beacon_adv, "sensor_beacon", NULL, beacon_adv_settings_set,
			       beacon_adv_settings_commit, NULL);
```
